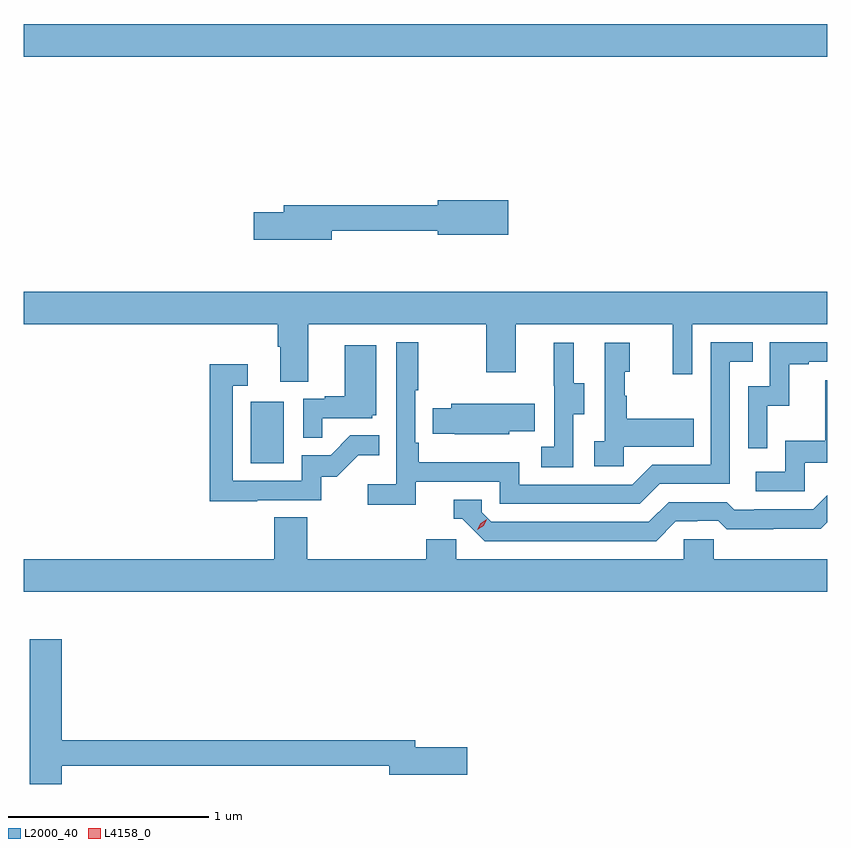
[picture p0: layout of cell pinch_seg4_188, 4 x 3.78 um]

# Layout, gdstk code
import gdstk
lib = gdstk.Library(unit=1e-6, precision=1e-09)
def R(c, l, rs):  # rectangles x0, y0, x1, y1
    for r in rs: c.add(gdstk.rectangle(r[:2], r[2:], *l))
def P(c, l, *ps):  # polygons
    for p in ps: c.add(gdstk.Polygon(p, *l))
L2000_40 = (2000, 40)
L4158_0 = (4158, 0)

pinch_seg4_188 = lib.new_cell('pinch_seg4_188')
R(pinch_seg4_188, L2000_40, [(964.076,818.772,964.24,819.079), (962.946,820.796,966.946,820.96)])
P(pinch_seg4_188, L2000_40, [(964.48,819.93),(965.006,819.93),(965.006,819.911),(965.359,819.911),(965.359,820.082),(965.006,820.082),(965.006,820.058),(964.241,820.058),(964.241,820.022),(964.092,820.022),(964.092,819.887),(964.48,819.887)],
  [(964.363,819.464),(965.248,819.464),(965.248,819.225),(965.395,819.225),(965.395,819.464),(966.176,819.464),(966.176,819.216),(966.273,819.216),(966.273,819.464),(966.946,819.464),(966.946,819.628),(962.946,819.628),(962.946,819.464),(964.211,819.464),(964.211,819.352),(964.223,819.352),(964.223,819.178),(964.363,819.178)],
  [(964.898,818.682),(965.316,818.682),(965.316,818.571),(966.013,818.571),(966.112,818.67),(966.462,818.67),(966.462,819.279),(966.575,819.279),(966.575,819.375),(966.366,819.375),(966.366,818.766),(966.075,818.766),(965.976,818.667),(965.412,818.667),(965.412,818.779),(964.913,818.779),(964.913,818.875),(964.896,818.875),(964.896,819.136),(964.909,819.136),(964.909,819.376),(964.8,819.376),(964.8,818.668),(964.659,818.668),(964.659,818.566),(964.898,818.566)],
  [(966.648,819.059),(966.758,819.059),(966.758,819.267),(966.853,819.267),(966.853,819.279),(966.946,819.279),(966.946,819.375),(966.66,819.375),(966.66,819.156),(966.552,819.156),(966.552,818.847),(966.648,818.847)],
  [(965.934,818.855),(966.281,818.855),(966.281,818.995),(965.947,818.995),(965.947,819.11),(965.937,819.11),(965.937,819.228),(965.962,819.228),(965.962,819.373),(965.838,819.373),(965.838,818.882),(965.787,818.882),(965.787,818.757),(965.934,818.757)],
  [(965.682,819.016),(965.737,819.016),(965.737,819.171),(965.683,819.171),(965.683,819.373),(965.585,819.373),(965.585,819.159),(965.586,819.159),(965.586,818.855),(965.523,818.855),(965.523,818.752),(965.682,818.752)],
  [(964.433,818.997),(964.68,818.997),(964.68,819.012),(964.702,819.012),(964.702,819.361),(964.544,819.361),(964.544,819.106),(964.445,819.106),(964.445,819.093),(964.338,819.093),(964.338,818.899),(964.433,818.899)],
  [(964.109,818.589),(964.428,818.589),(964.428,818.706),(964.504,818.706),(964.611,818.813),(964.715,818.813),(964.715,818.912),(964.571,818.912),(964.473,818.814),(964.329,818.814),(964.329,818.685),(963.987,818.685),(963.987,819.159),(964.06,819.159),(964.06,819.265),(963.871,819.265),(963.871,818.584),(964.109,818.584)],
  [(966.834,818.775),(966.946,818.775),(966.946,819.187),(966.937,819.187),(966.937,818.884),(966.738,818.884),(966.738,818.73),(966.591,818.73),(966.591,818.634),(966.834,818.634)],
  [(965.364,818.933),(965.489,818.933),(965.489,819.07),(965.075,819.07),(965.075,819.048),(964.981,819.048),(964.981,818.919),(965.092,818.919),(965.092,818.918),(965.364,818.918)],
  [(966.193,818.484),(966.3,818.484),(966.3,818.487),(966.403,818.487),(966.445,818.445),(966.678,818.445),(966.678,818.447),(966.914,818.447),(966.946,818.479),(966.946,818.614),(966.876,818.544),(966.583,818.544),(966.583,818.541),(966.484,818.541),(966.445,818.58),(966.156,818.58),(966.057,818.481),(965.274,818.481),(965.226,818.529),(965.226,818.592),(965.087,818.592),(965.087,818.496),(965.13,818.496),(965.241,818.385),(966.094,818.385)],
  [(966.946,818.296),(966.381,818.296),(966.381,818.394),(966.231,818.394),(966.231,818.296),(965.1,818.296),(965.1,818.394),(964.949,818.394),(964.949,818.296),(964.358,818.296),(964.358,818.504),(964.193,818.504),(964.193,818.296),(962.946,818.296),(962.946,818.132),(966.946,818.132)],
  [(963.136,817.266),(964.766,817.266),(964.766,817.223),(965.155,817.223),(965.155,817.358),(964.894,817.358),(964.894,817.394),(963.136,817.394),(963.136,817.897),(962.975,817.897),(962.975,817.176),(963.136,817.176)])
P(pinch_seg4_188, L4158_0, [(965.203,818.442),(965.203,818.443),(965.22,818.475),(965.251,818.494),(965.252,818.494),(965.252,818.494),(965.235,818.461),(965.204,818.442)])

lib.write_gds('pinch_seg4_188.gds')
